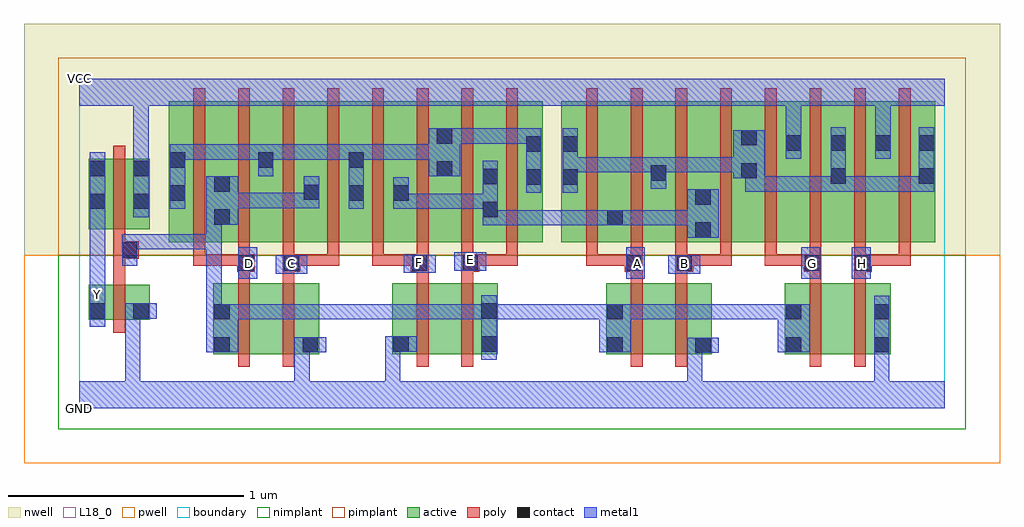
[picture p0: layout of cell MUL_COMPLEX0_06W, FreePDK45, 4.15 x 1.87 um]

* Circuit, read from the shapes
.subckt MUL_COMPLEX0_06W A B C D E F G GND H VCC Y
M1 GND n1 Y VSUBS nfet w=0.15u l=0.05u
M2 n2 D n1 VSUBS nfet w=0.3u l=0.05u
M3 GND C n2 VSUBS nfet w=0.3u l=0.05u
M4 n3 F GND VSUBS nfet w=0.3u l=0.05u
M5 n1 E n3 VSUBS nfet w=0.3u l=0.05u
M6 n4 A n1 VSUBS nfet w=0.3u l=0.05u
M7 GND B n4 VSUBS nfet w=0.3u l=0.05u
M8 n5 G n1 VSUBS nfet w=0.3u l=0.05u
M9 GND H n5 VSUBS nfet w=0.3u l=0.05u
M10 VCC n1 Y n6 pfet w=0.3u l=0.05u
M11 n1 D n7 n6 pfet w=0.6u l=0.05u m=2
M12 n1 C n7 n6 pfet w=0.6u l=0.05u m=2
M13 n8 F n7 n6 pfet w=0.6u l=0.05u m=2
M14 n8 E n7 n6 pfet w=0.6u l=0.05u m=2
M15 n8 A n9 n6 pfet w=0.6u l=0.05u m=2
M16 n8 B n9 n6 pfet w=0.6u l=0.05u m=2
M17 VCC G n9 n6 pfet w=0.6u l=0.05u m=2
M18 VCC H n9 n6 pfet w=0.6u l=0.05u m=2
.ends

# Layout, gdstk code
import gdstk
lib = gdstk.Library(unit=1e-6, precision=1e-09)
def R(c, l, rs):  # rectangles x0, y0, x1, y1
    for r in rs: c.add(gdstk.rectangle(r[:2], r[2:], *l))
def A(c, l, x, y, w, h, nx, ny, dx, dy):  # array of equal rectangles
    R(c, l, [(x+i*dx, y+j*dy, x+i*dx+w, y+j*dy+h) for i in range(nx) for j in range(ny)])
active = (1, 0)
pwell = (2, 0)
nwell = (3, 0)
nimplant = (4, 0)
pimplant = (5, 0)
poly = (9, 0)
contact = (10, 0)
metal1 = (11, 0)
L18_0 = (18, 0)
boundary = (235, 0)

mul_complex0_06w = lib.new_cell('MUL_COMPLEX0_06W')
A(mul_complex0_06w, active, 0.57, 0.705, 0.075, 0.365, 4, 1, 0.38, 0)
A(mul_complex0_06w, active, 2.81, 0.705, 0.265, 0.6, 3, 1, 0.19, 0)
R(mul_complex0_06w, active, [(0.57,0.23,0.795,0.53), (0.57,0.23,0.645,0.53), (0.795,0.23,1.02,0.53), (0.945,0.23,1.02,0.53), (1.33,0.23,1.555,0.53), (1.33,0.23,1.405,0.53), (1.555,0.23,1.78,0.53), (1.705,0.23,1.78,0.53), (2.24,0.23,2.465,0.53), (2.465,0.23,2.69,0.53), (2.615,0.23,2.69,0.53), (3,0.23,3.225,0.53), (3.225,0.23,3.45,0.53), (2.24,0.232,2.315,0.53), (3,0.232,3.075,0.53), (3.375,0.232,3.45,0.53), (0.04,0.375,0.115,0.525), (0.04,0.375,0.3,0.525), (0.225,0.375,0.3,0.525), (0.38,0.705,0.455,1.2), (0.38,0.705,0.645,1.305), (0.57,0.705,0.83,1.305), (0.755,0.705,0.83,1.2), (0.755,0.705,1.025,1.305), (0.95,0.705,1.215,1.305), (1.14,0.705,1.215,1.2), (1.14,0.705,1.405,1.305), (1.33,0.705,1.59,1.305), (1.515,0.705,1.59,1.2), (1.515,0.705,1.785,1.305), (1.71,0.705,1.97,1.305), (1.895,0.705,1.97,1.2), (2.05,0.705,2.125,1.2), (2.05,0.705,2.315,1.305), (2.24,0.705,2.5,1.305), (2.24,0.705,2.315,1.07), (2.425,0.705,2.5,1.2), (2.425,0.705,2.69,1.305), (2.615,0.705,2.885,1.305), (2.615,0.705,2.69,1.07), (2.81,0.705,2.885,1.2), (3,0.705,3.075,1.305), (3.19,0.705,3.265,1.2), (3.38,0.705,3.64,1.305), (3.38,0.705,3.455,1.305), (3.565,0.705,3.64,1.2), (0.04,0.76,0.3,1.06), (0.04,0.76,0.115,1.057), (0.225,0.76,0.3,1.06)])
R(mul_complex0_06w, pwell, [(-0.235,-0.235,3.915,0.65)])
R(mul_complex0_06w, nwell, [(-0.235,0.65,3.915,1.635)])
R(mul_complex0_06w, nimplant, [(-0.09,-0.09,3.77,0.65)])
R(mul_complex0_06w, pimplant, [(-0.09,0.65,3.77,1.49)])
A(mul_complex0_06w, poly, 0.485, 0.605, 0.05, 0.095, 8, 1, 0.19, 0)
A(mul_complex0_06w, poly, 2.155, 0.605, 0.05, 0.095, 8, 1, 0.19, 0)
A(mul_complex0_06w, poly, 0.485, 0.65, 0.05, 0.71, 8, 1, 0.19, 0)
A(mul_complex0_06w, poly, 2.155, 0.65, 0.05, 0.71, 8, 1, 0.19, 0)
R(mul_complex0_06w, poly, [(0.675,0.175,0.725,0.585), (0.865,0.175,0.915,0.585), (1.435,0.175,1.485,0.585), (1.625,0.175,1.675,0.585), (2.345,0.175,2.395,0.585), (2.535,0.175,2.585,0.585), (3.105,0.175,3.155,0.585), (3.295,0.175,3.345,0.585), (0.145,0.32,0.195,0.58), (0.145,0.53,0.195,0.685), (0.675,0.535,0.725,0.63), (0.865,0.535,0.915,0.63), (1.435,0.535,1.485,0.63), (1.625,0.535,1.675,0.63), (2.345,0.535,2.395,0.63), (2.535,0.535,2.585,0.63), (3.105,0.535,3.155,0.63), (3.295,0.535,3.345,0.63), (0.672,0.58,0.747,0.655), (0.865,0.58,0.94,0.655), (1.41,0.58,1.485,0.655), (1.625,0.58,1.7,0.655), (2.32,0.58,2.395,0.655), (2.535,0.58,2.61,0.655), (3.08,0.58,3.155,0.655), (3.295,0.58,3.37,0.655), (0.485,0.605,0.535,0.655), (0.485,0.605,0.722,0.655), (0.672,0.605,0.722,0.655), (0.672,0.605,0.722,0.655), (0.89,0.605,1.105,0.655), (1.055,0.605,1.105,0.655), (1.055,0.605,1.105,0.655), (1.055,0.605,1.105,0.655), (1.245,0.605,1.295,0.655), (1.245,0.605,1.295,0.655), (1.245,0.605,1.295,0.655), (1.245,0.605,1.46,0.655), (1.65,0.605,1.865,0.655), (1.815,0.605,1.865,0.655), (1.815,0.605,1.865,0.655), (1.815,0.605,1.865,0.655), (2.155,0.605,2.205,0.655), (2.155,0.605,2.37,0.655), (2.32,0.605,2.37,0.655), (2.32,0.605,2.37,0.655), (2.56,0.605,2.775,0.655), (2.725,0.605,2.775,0.655), (2.725,0.605,2.775,0.655), (2.725,0.605,2.775,0.655), (2.915,0.605,2.965,0.655), (2.915,0.605,2.965,0.655), (2.915,0.605,2.965,0.655), (2.915,0.605,3.13,0.655), (3.32,0.605,3.535,0.655), (3.485,0.605,3.535,0.655), (3.485,0.605,3.535,0.655), (3.485,0.605,3.535,0.655), (0.145,0.635,0.252,0.71), (0.145,0.66,0.195,0.755), (0.145,0.705,0.195,1.115)])
A(mul_complex0_06w, contact, 3.005, 1.095, 0.065, 0.065, 3, 1, 0.19, 0)
R(mul_complex0_06w, contact, [(2.62,0.235,2.685,0.3), (0.575,0.237,0.64,0.302), (0.95,0.237,1.015,0.302), (2.245,0.237,2.31,0.302), (3.005,0.237,3.07,0.302), (3.38,0.237,3.445,0.302), (1.335,0.24,1.4,0.305), (1.71,0.24,1.775,0.305), (0.575,0.377,0.64,0.442), (2.245,0.377,2.31,0.442), (3.005,0.377,3.07,0.442), (3.38,0.377,3.445,0.442), (0.045,0.38,0.11,0.445), (0.23,0.38,0.295,0.445), (1.71,0.38,1.775,0.445), (0.677,0.585,0.742,0.65), (0.87,0.585,0.935,0.65), (1.415,0.585,1.48,0.65), (1.63,0.585,1.695,0.65), (2.325,0.585,2.39,0.65), (2.54,0.585,2.605,0.65), (3.085,0.585,3.15,0.65), (3.3,0.585,3.365,0.65), (0.182,0.64,0.247,0.705), (2.62,0.725,2.685,0.79), (2.245,0.777,2.31,0.842), (0.575,0.78,0.64,0.845), (1.715,0.812,1.78,0.877), (0.045,0.847,0.11,0.912), (0.23,0.847,0.295,0.912), (2.62,0.865,2.685,0.93), (0.385,0.882,0.45,0.947), (1.145,0.882,1.21,0.947), (1.335,0.882,1.4,0.947), (0.955,0.885,1.02,0.95), (0.575,0.92,0.64,0.985), (1.9,0.95,1.965,1.015), (2.055,0.95,2.12,1.015), (1.715,0.952,1.78,1.017), (3.195,0.955,3.26,1.02), (3.57,0.955,3.635,1.02), (2.43,0.967,2.495,1.032), (2.815,0.977,2.88,1.042), (1.52,0.985,1.585,1.05), (0.045,0.987,0.11,1.052), (0.23,0.987,0.295,1.052), (0.385,1.022,0.45,1.087), (0.76,1.022,0.825,1.087), (1.145,1.022,1.21,1.087), (1.9,1.09,1.965,1.155), (2.055,1.09,2.12,1.155), (3.57,1.095,3.635,1.16), (2.815,1.117,2.88,1.182), (1.52,1.125,1.585,1.19)])
R(mul_complex0_06w, metal1, [(0,0,3.68,0.115), (0.195,0.05,0.26,0.115), (0.195,0.05,0.26,0.115), (0.195,0.05,0.26,0.115), (0.195,0.05,0.26,0.115), (0.195,0.05,0.26,0.115), (0.195,0.05,0.26,0.115), (0.195,0.05,0.26,0.445), (0.915,0.05,0.98,0.115), (0.915,0.05,0.98,0.115), (0.915,0.05,0.98,0.302), (1.3,0.05,1.365,0.115), (1.3,0.05,1.365,0.115), (1.3,0.05,1.365,0.305), (2.585,0.05,2.65,0.115), (2.585,0.05,2.65,0.115), (2.585,0.05,2.65,0.3), (3.38,0.05,3.445,0.115), (3.38,0.05,3.445,0.115), (3.38,0.05,3.445,0.267), (3.38,0.202,3.445,0.267), (3.38,0.202,3.445,0.267), (3.38,0.202,3.445,0.477), (1.71,0.205,1.775,0.48), (2.585,0.235,2.65,0.3), (2.585,0.235,2.65,0.3), (2.585,0.235,2.72,0.3), (0.54,0.237,0.675,0.442), (0.915,0.237,0.98,0.302), (0.915,0.237,0.98,0.302), (0.915,0.237,1.05,0.302), (2.21,0.237,2.345,0.442), (2.97,0.237,3.105,0.442), (1.3,0.24,1.365,0.305), (1.3,0.24,1.365,0.305), (1.3,0.24,1.435,0.305), (0.045,0.345,0.11,0.48), (0.54,0.377,0.605,0.74), (0.61,0.377,0.675,0.442), (0.61,0.377,0.675,0.442), (0.61,0.377,0.842,0.442), (0.777,0.377,0.842,0.442), (0.777,0.377,0.842,0.442), (0.777,0.377,0.842,0.442), (0.777,0.377,0.98,0.442), (0.915,0.377,0.98,0.442), (0.915,0.377,0.98,0.442), (0.915,0.377,0.98,0.442), (0.915,0.377,1.21,0.442), (1.145,0.377,1.21,0.442), (1.145,0.377,1.21,0.442), (1.145,0.377,1.21,0.442), (1.145,0.377,1.347,0.442), (1.282,0.377,1.347,0.442), (1.282,0.377,1.347,0.442), (1.282,0.377,1.347,0.442), (1.282,0.377,1.62,0.442), (1.555,0.377,1.62,0.442), (1.555,0.377,1.62,0.442), (1.555,0.377,1.62,0.442), (1.555,0.377,1.775,0.442), (1.71,0.377,1.982,0.442), (1.917,0.377,1.982,0.442), (1.917,0.377,1.982,0.442), (1.917,0.377,1.982,0.442), (1.917,0.377,2.12,0.442), (2.055,0.377,2.12,0.442), (2.055,0.377,2.12,0.442), (2.055,0.377,2.12,0.442), (2.055,0.377,2.275,0.442), (2.28,0.377,2.357,0.442), (2.292,0.377,2.357,0.442), (2.292,0.377,2.512,0.442), (2.447,0.377,2.512,0.442), (2.447,0.377,2.512,0.442), (2.447,0.377,2.512,0.442), (2.447,0.377,2.65,0.442), (2.585,0.377,2.65,0.442), (2.585,0.377,2.65,0.442), (2.585,0.377,2.65,0.442), (2.585,0.377,2.897,0.442), (2.832,0.377,2.897,0.442), (2.832,0.377,2.897,0.442), (2.832,0.377,2.897,0.442), (2.832,0.377,3.035,0.442), (0.195,0.38,0.33,0.445), (0.045,0.415,0.11,0.48), (0.045,0.415,0.11,0.55), (0.045,0.485,0.11,0.877), (0.677,0.55,0.757,0.685), (2.325,0.55,2.405,0.685), (3.07,0.55,3.15,0.685), (3.285,0.55,3.365,0.685), (0.835,0.572,0.97,0.65), (2.505,0.572,2.64,0.65), (1.38,0.575,1.515,0.652), (1.595,0.585,1.73,0.662), (0.182,0.605,0.247,0.74), (0.182,0.675,0.247,0.74), (0.182,0.675,0.247,0.74), (0.182,0.675,0.385,0.74), (0.32,0.675,0.385,0.74), (0.32,0.675,0.432,0.74), (0.367,0.675,0.432,0.74), (0.367,0.675,0.605,0.74), (0.54,0.675,0.605,0.74), (0.54,0.675,0.605,0.845), (2.585,0.725,2.72,0.93), (1.715,0.777,1.78,1.052), (1.715,0.777,1.982,0.842), (1.917,0.777,1.982,0.842), (1.917,0.777,1.982,0.842), (1.917,0.777,1.982,0.842), (1.917,0.777,2.137,0.842), (2.072,0.777,2.137,0.842), (2.072,0.777,2.22,0.842), (2.155,0.777,2.22,0.842), (2.155,0.777,2.275,0.842), (2.21,0.777,2.345,0.842), (2.28,0.777,2.357,0.842), (2.292,0.777,2.357,0.842), (2.292,0.777,2.512,0.842), (2.447,0.777,2.512,0.842), (2.447,0.777,2.512,0.842), (2.447,0.777,2.512,0.842), (2.447,0.777,2.65,0.842), (0.54,0.78,0.675,0.985), (0.045,0.812,0.11,1.087), (0.23,0.812,0.295,1.087), (0.385,0.847,0.45,1.122), (1.145,0.847,1.21,1.122), (1.335,0.847,1.4,0.912), (1.335,0.847,1.4,0.912), (1.335,0.847,1.4,0.982), (1.335,0.847,1.537,0.912), (1.472,0.847,1.537,0.912), (1.472,0.847,1.537,0.912), (1.472,0.847,1.537,0.912), (1.472,0.847,1.78,0.912), (0.61,0.85,0.675,0.915), (0.61,0.85,0.675,0.915), (0.61,0.85,0.842,0.915), (0.777,0.85,0.842,0.915), (0.777,0.85,0.842,0.915), (0.777,0.85,0.842,0.915), (0.777,0.85,1.02,0.915), (0.955,0.85,1.02,0.985), (1.9,0.915,1.965,1.19), (2.055,0.915,2.12,1.19), (2.832,0.92,2.897,0.985), (2.832,0.92,2.897,0.985), (2.832,0.92,3.122,0.985), (2.832,0.92,2.897,1.042), (3.057,0.92,3.122,0.985), (3.057,0.92,3.122,0.985), (3.057,0.92,3.122,0.985), (3.057,0.92,3.26,0.985), (3.195,0.92,3.26,1.195), (3.195,0.92,3.497,0.985), (3.432,0.92,3.497,0.985), (3.432,0.92,3.497,0.985), (3.432,0.92,3.497,0.985), (3.432,0.92,3.635,0.985), (3.57,0.92,3.635,0.985), (3.57,0.92,3.635,0.985), (3.57,0.92,3.635,1.195), (2.43,0.932,2.495,1.067), (2.78,0.977,2.915,1.182), (2.832,0.977,2.897,1.042), (1.485,0.985,1.62,1.19), (0.76,0.987,0.825,1.122), (2.055,1.002,2.12,1.067), (2.055,1.002,2.12,1.067), (2.055,1.002,2.357,1.067), (2.292,1.002,2.357,1.067), (2.292,1.002,2.357,1.067), (2.292,1.002,2.357,1.067), (2.292,1.002,2.495,1.067), (2.43,1.002,2.495,1.067), (2.43,1.002,2.495,1.067), (2.43,1.002,2.707,1.067), (2.642,1.002,2.707,1.067), (2.642,1.002,2.707,1.067), (2.642,1.002,2.707,1.067), (2.642,1.002,2.845,1.067), (0.23,1.022,0.295,1.087), (0.23,1.022,0.295,1.087), (0.23,1.022,0.295,1.35), (0.385,1.057,0.497,1.122), (0.432,1.057,0.497,1.122), (0.432,1.057,0.635,1.122), (0.57,1.057,0.635,1.122), (0.57,1.057,0.635,1.122), (0.57,1.057,0.635,1.122), (0.57,1.057,0.825,1.122), (0.76,1.057,0.825,1.122), (0.76,1.057,0.825,1.122), (0.76,1.057,1.072,1.122), (1.007,1.057,1.072,1.122), (1.007,1.057,1.072,1.122), (1.007,1.057,1.072,1.122), (1.007,1.057,1.21,1.122), (1.145,1.057,1.21,1.122), (1.145,1.057,1.21,1.122), (1.145,1.057,1.4,1.122), (1.335,1.057,1.4,1.122), (1.335,1.057,1.4,1.122), (1.335,1.057,1.4,1.122), (1.335,1.057,1.55,1.122), (3.005,1.06,3.07,1.195), (3.385,1.06,3.45,1.195), (1.555,1.125,1.757,1.19), (1.692,1.125,1.757,1.19), (1.692,1.125,1.757,1.19), (1.692,1.125,1.757,1.19), (1.692,1.125,1.965,1.19), (1.9,1.125,1.965,1.19), (1.9,1.125,1.965,1.19), (3.005,1.13,3.07,1.35), (3.385,1.13,3.45,1.35), (0,1.285,3.68,1.4), (0.23,1.285,0.295,1.35), (0.23,1.285,0.295,1.35)])
R(mul_complex0_06w, L18_0, [(0,0,3.68,0.115), (0.195,0.05,0.26,0.115), (0.195,0.05,0.26,0.115), (0.195,0.05,0.26,0.115), (0.195,0.05,0.26,0.115), (0.195,0.05,0.26,0.115), (0.195,0.05,0.26,0.115), (0.195,0.05,0.26,0.445), (0.915,0.05,0.98,0.115), (0.915,0.05,0.98,0.115), (0.915,0.05,0.98,0.302), (1.3,0.05,1.365,0.115), (1.3,0.05,1.365,0.115), (1.3,0.05,1.365,0.305), (2.585,0.05,2.65,0.115), (2.585,0.05,2.65,0.115), (2.585,0.05,2.65,0.3), (3.38,0.05,3.445,0.115), (3.38,0.05,3.445,0.115), (3.38,0.05,3.445,0.267), (3.38,0.202,3.445,0.267), (3.38,0.202,3.445,0.267), (3.38,0.202,3.445,0.477), (2.585,0.235,2.65,0.3), (2.585,0.235,2.65,0.3), (2.585,0.235,2.72,0.3), (0.915,0.237,0.98,0.302), (0.915,0.237,0.98,0.302), (0.915,0.237,1.05,0.302), (1.3,0.24,1.365,0.305), (1.3,0.24,1.365,0.305), (1.3,0.24,1.435,0.305), (0.045,0.345,0.11,0.48), (0.195,0.38,0.33,0.445), (0.045,0.415,0.11,0.55), (0.045,0.415,0.11,0.48), (0.045,0.45,0.11,0.515), (0.045,0.485,0.11,0.877), (0.677,0.55,0.757,0.685), (2.325,0.55,2.405,0.685), (3.07,0.55,3.15,0.685), (3.285,0.55,3.365,0.685), (0.835,0.572,0.97,0.65), (2.505,0.572,2.64,0.65), (1.38,0.575,1.515,0.652), (0.692,0.585,0.757,0.65), (0.87,0.585,0.935,0.65), (1.595,0.585,1.73,0.662), (2.34,0.585,2.405,0.65), (2.54,0.585,2.605,0.65), (3.085,0.585,3.15,0.65), (3.3,0.585,3.365,0.65), (1.415,0.587,1.48,0.652), (1.63,0.597,1.695,0.662), (0.045,0.812,0.11,1.087), (0.23,0.812,0.295,1.087), (0.23,1.022,0.295,1.087), (0.23,1.022,0.295,1.087), (0.23,1.022,0.295,1.35), (3.005,1.06,3.07,1.195), (3.385,1.06,3.45,1.195), (3.005,1.13,3.07,1.35), (3.385,1.13,3.45,1.35), (0,1.285,3.68,1.4), (0.23,1.285,0.295,1.35), (0.23,1.285,0.295,1.35)])
R(mul_complex0_06w, boundary, [(0,0,3.68,1.4)])
mul_complex0_06w.add(gdstk.Label('A', (2.372,0.617), layer=11, texttype=0))
mul_complex0_06w.add(gdstk.Label('B', (2.572,0.617), layer=11, texttype=0))
mul_complex0_06w.add(gdstk.Label('C', (0.902,0.617), layer=11, texttype=0))
mul_complex0_06w.add(gdstk.Label('D', (0.725,0.617), layer=11, texttype=0))
mul_complex0_06w.add(gdstk.Label('E', (1.662,0.63), layer=11, texttype=0))
mul_complex0_06w.add(gdstk.Label('F', (1.447,0.62), layer=11, texttype=0))
mul_complex0_06w.add(gdstk.Label('G', (3.117,0.617), layer=11, texttype=0))
mul_complex0_06w.add(gdstk.Label('H', (3.332,0.617), layer=11, texttype=0))
mul_complex0_06w.add(gdstk.Label('Y', (0.077,0.482), layer=11, texttype=0))
mul_complex0_06w.add(gdstk.Label('VCC', (0,1.4), layer=11, texttype=0))
mul_complex0_06w.add(gdstk.Label('GND', (0,0), layer=11, texttype=0))

lib.write_gds('MUL_COMPLEX0_06W.gds')
